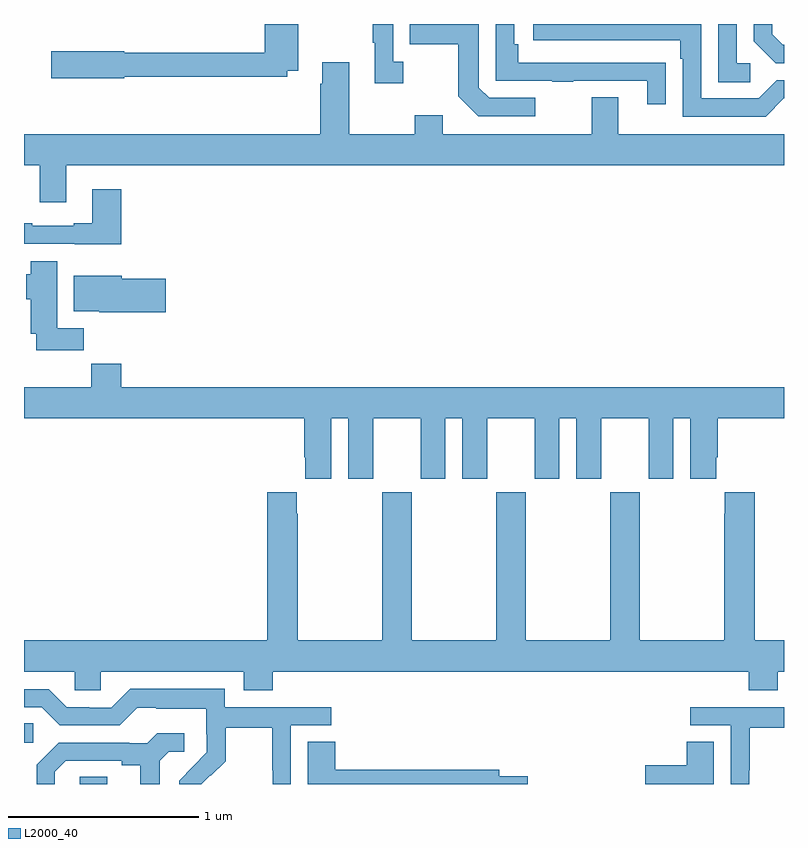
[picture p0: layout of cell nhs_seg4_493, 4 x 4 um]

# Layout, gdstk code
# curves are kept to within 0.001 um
import gdstk
lib = gdstk.Library(unit=1e-6, precision=1e-09)
def R(c, l, rs):  # rectangles x0, y0, x1, y1
    for r in rs: c.add(gdstk.rectangle(r[:2], r[2:], *l))
def P(c, l, *ps):  # polygons
    for p in ps: c.add(gdstk.Polygon(p, *l))
L2000_40 = (2000, 40)

nhs_seg4_493 = lib.new_cell('nhs_seg4_493')
R(nhs_seg4_493, L2000_40, [(135.294,790.9,135.439,790.937), (135,791.118,135.049,791.219)])
P(nhs_seg4_493, L2000_40, [(135.528,794.622),(136.386,794.622),(136.386,794.654),(136.443,794.654),(136.443,794.9),(136.268,794.9),(136.268,794.75),(135.528,794.75),(135.528,794.756),(135.144,794.756),(135.144,794.614),(135.528,794.614)],
  [(137.692,794.511),(137.448,794.511),(137.394,794.565),(137.394,794.9),(137.029,794.9),(137.029,794.794),(137.286,794.794),(137.286,794.521),(137.391,794.415),(137.692,794.415)],
  [(136.996,794.702),(136.944,794.702),(136.944,794.9),(136.836,794.9),(136.836,794.801),(136.847,794.801),(136.847,794.589),(136.996,794.589)],
  [(138.999,794.508),(139,794.604),(138.963,794.604),(138.867,794.508),(138.564,794.508),(138.564,794.9),(137.679,794.9),(137.679,794.814),(138.455,794.814),(138.455,794.717),(138.468,794.717),(138.468,794.412),(138.903,794.412)],
  [(138.377,794.696),(138.275,794.696),(138.275,794.697),(137.6,794.697),(137.6,794.794),(137.58,794.794),(137.58,794.9),(137.484,794.9),(137.484,794.601),(137.779,794.601),(137.779,794.596),(137.891,794.596),(137.891,794.601),(138.281,794.601),(138.281,794.478),(138.377,794.478)],
  [(139,794.79),(138.994,794.79),(138.937,794.847),(138.937,794.9),(138.84,794.9),(138.84,794.81),(138.956,794.694),(139,794.694)],
  [(138.823,794.694),(138.75,794.694),(138.75,794.9),(138.654,794.9),(138.654,794.593),(138.823,794.593)],
  [(135.223,794.156),(139,794.156),(139,794.32),(138.127,794.32),(138.127,794.515),(137.987,794.515),(137.987,794.32),(137.203,794.32),(137.203,794.419),(137.056,794.419),(137.056,794.32),(136.711,794.32),(136.711,794.698),(136.571,794.698),(136.571,794.585),(136.559,794.585),(136.559,794.32),(135,794.32),(135,794.156),(135.083,794.156),(135.083,793.962),(135.223,793.962)],
  [(135.512,794.029),(135.359,794.029),(135.359,793.852),(135.263,793.852),(135.263,793.839),(135.043,793.839),(135.043,793.852),(135,793.852),(135,793.743),(135.267,793.743),(135.267,793.742),(135.512,793.742)],
  [(135.314,793.3),(135.175,793.3),(135.175,793.651),(135.035,793.651),(135.035,793.584),(135.011,793.584),(135.011,793.452),(135.035,793.452),(135.035,793.271),(135.065,793.271),(135.065,793.182),(135.314,793.182)],
  [(135.745,793.559),(135.514,793.559),(135.514,793.576),(135.263,793.576),(135.263,793.388),(135.396,793.388),(135.396,793.382),(135.745,793.382)],
  [(135.512,793.112),(135.355,793.112),(135.355,792.988),(135,792.988),(135,792.824),(136.475,792.824),(136.475,792.619),(136.481,792.619),(136.481,792.507),(136.618,792.507),(136.618,792.824),(136.706,792.824),(136.706,792.507),(136.837,792.507),(136.837,792.824),(137.087,792.824),(137.087,792.507),(137.218,792.507),(137.218,792.824),(137.306,792.824),(137.306,792.507),(137.437,792.507),(137.437,792.824),(137.687,792.824),(137.687,792.507),(137.818,792.507),(137.818,792.824),(137.906,792.824),(137.906,792.507),(138.037,792.507),(138.037,792.824),(138.287,792.824),(138.287,792.507),(138.418,792.507),(138.418,792.824),(138.506,792.824),(138.506,792.507),(138.643,792.507),(138.643,792.619),(138.65,792.619),(138.65,792.824),(139,792.824),(139,792.988),(135.512,792.988)],
  [(136.31,791.492),(138.815,791.492),(138.815,791.393),(138.967,791.393),(138.967,791.492),(139,791.492),(139,791.656),(138.845,791.656),(138.845,792.436),(138.689,792.436),(138.689,792.323),(138.685,792.323),(138.685,791.656),(138.24,791.656),(138.24,792.436),(138.085,792.436),(138.085,791.656),(137.64,791.656),(137.64,792.436),(137.485,792.436),(137.485,791.656),(137.04,791.656),(137.04,792.436),(136.885,792.436),(136.885,791.656),(136.44,791.656),(136.44,792.323),(136.435,792.323),(136.435,792.436),(136.28,792.436),(136.28,791.656),(135,791.656),(135,791.492),(135.267,791.492),(135.267,791.394),(135.405,791.394),(135.405,791.492),(136.157,791.492),(136.157,791.393),(136.31,791.393)],
  [(135.981,790.947),(135.984,790.944),(136.061,791.021),(136.061,791.196),(136.306,791.196),(136.306,790.972),(136.308,790.972),(136.308,790.9),(136.404,790.9),(136.404,791.208),(136.618,791.208),(136.618,791.304),(136.056,791.304),(136.056,791.401),(135.559,791.401),(135.459,791.301),(135.344,791.301),(135.344,791.304),(135.225,791.304),(135.129,791.4),(135,791.4),(135,791.304),(135.093,791.304),(135.189,791.208),(135.504,791.208),(135.597,791.301),(135.697,791.301),(135.697,791.297),(135.96,791.297),(135.96,791.163),(135.962,791.163),(135.962,791.066),(135.816,790.918),(135.816,790.9),(135.934,790.9)],
  [(138.816,790.972),(138.819,790.972),(138.819,791.196),(139,791.196),(139,791.304),(138.507,791.304),(138.507,791.208),(138.72,791.208),(138.72,790.9),(138.816,790.9)],
  [(135.163,790.965),(135.22,791.022),(135.515,791.022),(135.515,791),(135.611,791),(135.611,790.9),(135.715,790.9),(135.715,791.023),(135.762,791.07),(135.844,791.07),(135.844,791.167),(135.7,791.167),(135.648,791.115),(135.554,791.115),(135.554,791.118),(135.182,791.118),(135.066,791.002),(135.066,790.9),(135.163,790.9)],
  [(138.631,791.123),(138.488,791.123),(138.488,791),(138.27,791),(138.27,790.9),(138.631,790.9)],
  [(137.65,790.94),(137.5,790.94),(137.5,790.976),(136.637,790.976),(136.637,791.123),(136.493,791.123),(136.493,790.9),(137.65,790.9)])

lib.write_gds('nhs_seg4_493.gds')
